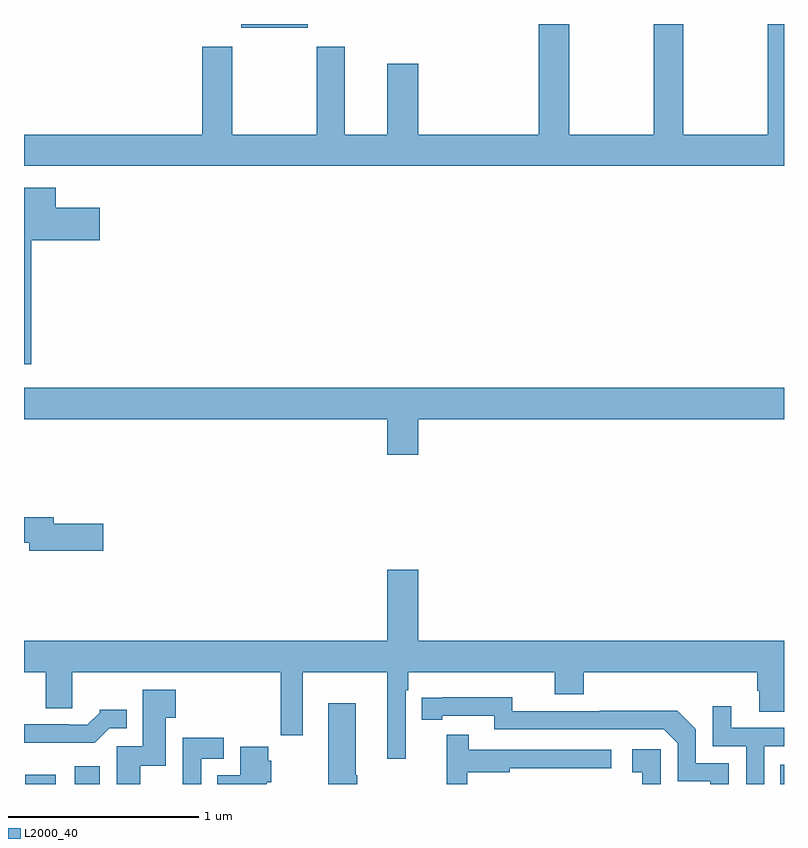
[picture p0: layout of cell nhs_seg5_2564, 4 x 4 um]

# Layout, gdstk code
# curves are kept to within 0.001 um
import gdstk
lib = gdstk.Library(unit=1e-6, precision=1e-09)
def R(c, l, rs):  # rectangles x0, y0, x1, y1
    for r in rs: c.add(gdstk.rectangle(r[:2], r[2:], *l))
def P(c, l, *ps):  # polygons
    for p in ps: c.add(gdstk.Polygon(p, *l))
L2000_40 = (2000, 40)

nhs_seg5_2564 = lib.new_cell('nhs_seg5_2564')
R(nhs_seg5_2564, L2000_40, [(259.006,894.799,259.168,894.847), (259.268,894.799,259.399,894.892), (262.981,894.799,263,894.9), (260.144,898.778,260.494,898.799)])
P(nhs_seg5_2564, L2000_40, [(263,898.799),(262.915,898.799),(262.915,898.216),(262.47,898.216),(262.47,898.799),(262.315,898.799),(262.315,898.216),(261.87,898.216),(261.87,898.799),(261.71,898.799),(261.71,898.216),(261.076,898.216),(261.076,898.591),(260.912,898.591),(260.912,898.216),(260.689,898.216),(260.689,898.678),(260.541,898.678),(260.541,898.216),(260.097,898.216),(260.097,898.678),(259.937,898.678),(259.937,898.216),(259,898.216),(259,898.052),(263,898.052)],
  [(259.039,897.662),(259.399,897.662),(259.399,897.832),(259.168,897.832),(259.168,897.937),(259,897.937),(259,897.009),(259.039,897.009)],
  [(261.076,896.72),(263,896.72),(263,896.884),(259,896.884),(259,896.72),(260.912,896.72),(260.912,896.532),(261.076,896.532)],
  [(259.416,896.168),(259.156,896.168),(259.156,896.204),(259,896.204),(259,896.068),(259.028,896.068),(259.028,896.026),(259.416,896.026)],
  [(261.009,895.292),(261.023,895.292),(261.023,895.388),(261.794,895.388),(261.794,895.271),(261.947,895.271),(261.947,895.388),(262.859,895.388),(262.859,895.29),(262.871,895.29),(262.871,895.18),(263,895.18),(263,895.552),(261.076,895.552),(261.076,895.927),(260.912,895.927),(260.912,895.552),(259,895.552),(259,895.388),(259.115,895.388),(259.115,895.198),(259.255,895.198),(259.255,895.388),(260.35,895.388),(260.35,895.056),(260.467,895.056),(260.467,895.388),(260.912,895.388),(260.912,894.933),(261.009,894.933)],
  [(259.612,894.896),(259.747,894.896),(259.747,895.147),(259.799,895.147),(259.799,895.294),(259.625,895.294),(259.625,894.999),(259.487,894.999),(259.487,894.799),(259.612,894.799)],
  [(262.71,894.909),(262.536,894.909),(262.536,895.086),(262.438,895.184),(262.03,895.184),(262.03,895.182),(261.57,895.182),(261.57,895.255),(261.094,895.254),(261.094,895.138),(261.202,895.138),(261.202,895.158),(261.474,895.158),(261.474,895.086),(262.368,895.086),(262.44,895.014),(262.44,894.813),(262.613,894.813),(262.613,894.799),(262.71,894.799)],
  [(260.754,894.845),(260.746,894.845),(260.746,895.225),(260.6,895.225),(260.6,894.799),(260.754,894.799)],
  [(262.896,894.999),(263,894.999),(263,895.095),(262.723,895.095),(262.723,895.207),(262.626,895.207),(262.626,894.999),(262.8,894.999),(262.8,894.799),(262.896,894.799)],
  [(259.449,895.092),(259.54,895.092),(259.54,895.189),(259.398,895.189),(259.398,895.174),(259.334,895.11),(259.235,895.11),(259.235,895.113),(259,895.113),(259,895.016),(259.373,895.016)],
  [(261.334,894.862),(261.557,894.862),(261.557,894.882),(262.09,894.882),(262.09,894.978),(261.341,894.978),(261.341,895.057),(261.224,895.057),(261.224,894.799),(261.334,894.799)],
  [(259.932,894.933),(260.05,894.933),(260.05,895.042),(259.836,895.042),(259.836,894.799),(259.932,894.799)],
  [(260.278,894.807),(260.302,894.807),(260.302,894.921),(260.286,894.921),(260.286,894.994),(260.138,894.994),(260.138,894.844),(260.017,894.844),(260.017,894.799),(260.278,894.799)],
  [(262.35,894.982),(262.2,894.982),(262.2,894.861),(262.253,894.861),(262.253,894.799),(262.35,894.799)])

lib.write_gds('nhs_seg5_2564.gds')
